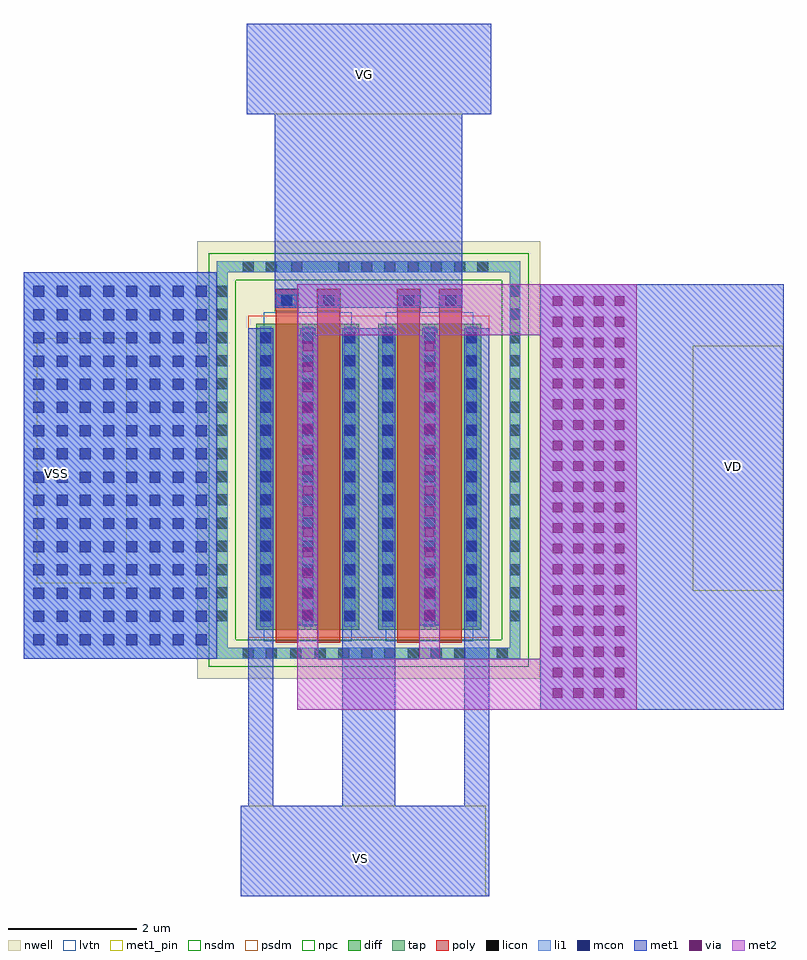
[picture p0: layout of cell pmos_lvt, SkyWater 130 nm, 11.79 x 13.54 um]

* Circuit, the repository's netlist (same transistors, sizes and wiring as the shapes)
** sch_path: /foss/designs/RO_Aging_UNICASS/MOS/pmos_lvt.sch
.subckt pmos_lvt VS VB VG VD
*.PININFO VS:B VB:B VG:B VD:B
M1 VD VG VS VB sky130_fd_pr__pfet_01v8_lvt L=0.35 W=4.75 nf=1 ad='int((nf+1)/2) * W/nf * 0.29' as='int((nf+2)/2) * W/nf * 0.29' pd='2*int((nf+1)/2) * (W/nf + 0.29)'
+ ps='2*int((nf+2)/2) * (W/nf + 0.29)' nrd='0.29 / W' nrs='0.29 / W' sa=0 sb=0 sd=0 mult=4 m=4
.ends
.end

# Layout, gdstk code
import gdstk
lib = gdstk.Library(unit=1e-6, precision=1e-09)
def R(c, l, rs):  # rectangles x0, y0, x1, y1
    for r in rs: c.add(gdstk.rectangle(r[:2], r[2:], *l))
def A(c, l, x, y, w, h, nx, ny, dx, dy):  # array of equal rectangles
    R(c, l, [(x+i*dx, y+j*dy, x+i*dx+w, y+j*dy+h) for i in range(nx) for j in range(ny)])
nwell = (64, 20)
diff = (65, 20)
tap = (65, 44)
poly = (66, 20)
licon = (66, 44)
li1 = (67, 20)
mcon = (67, 44)
met1_pin = (68, 16)
met1 = (68, 20)
via = (68, 44)
met2 = (69, 20)
nsdm = (93, 44)
psdm = (94, 20)
npc = (95, 20)
lvtn = (125, 44)

vias_gen_5 = lib.new_cell('vias_gen$5')
R(vias_gen_5, met1, [(0,0,0.32,4.5)])
A(vias_gen_5, via, 0.085, 0.095, 0.15, 0.15, 1, 14, 0, 0.32)
R(vias_gen_5, met2, [(0,0,0.32,4.5)])

vias_gen_1 = lib.new_cell('vias_gen$1')
R(vias_gen_1, met1, [(0,0,1.5,6.6)])
A(vias_gen_1, via, 0.195, 0.185, 0.15, 0.15, 4, 20, 0.32, 0.32)
R(vias_gen_1, met2, [(0,0,1.5,6.6)])

vias_gen_2 = lib.new_cell('vias_gen$2')
R(vias_gen_2, li1, [(0,0,3,6)])
A(vias_gen_2, mcon, 0.155, 0.215, 0.17, 0.17, 8, 16, 0.36, 0.36)
R(vias_gen_2, met1, [(0,0,3,6)])

pfet = lib.new_cell('pfet')
R(pfet, nwell, [(-0.305,-0.72,1.255,5.13)])
R(pfet, diff, [(0,0,0.95,4.75)])
R(pfet, poly, [(0.3,-0.53,0.65,-0.2), (0.3,-0.2,0.65,4.95)])
A(pfet, licon, 0.065, 0.13, 0.17, 0.17, 1, 13, 0, 0.36)
A(pfet, licon, 0.715, 0.13, 0.17, 0.17, 1, 13, 0, 0.36)
R(pfet, licon, [(0.39,-0.45,0.56,-0.28)])
R(pfet, li1, [(0.31,-0.45,0.64,-0.28), (0.065,0.05,0.235,4.7), (0.715,0.05,0.885,4.7)])
A(pfet, mcon, 0.065, 0.13, 0.17, 0.17, 1, 13, 0, 0.36)
A(pfet, mcon, 0.715, 0.13, 0.17, 0.17, 1, 13, 0, 0.36)
R(pfet, mcon, [(0.39,-0.45,0.56,-0.28)])
R(pfet, met1, [(0.29,-0.48,0.66,-0.25), (0.035,0.07,0.265,4.68), (0.685,0.07,0.915,4.68)])
R(pfet, psdm, [(-0.125,-0.125,1.075,4.875)])
R(pfet, npc, [(0.29,-0.54,0.66,-0.19)])
R(pfet, lvtn, [(0.12,-0.18,0.83,4.93)])

pmos_lvt = lib.new_cell('pmos_lvt')
R(pmos_lvt, nwell, [(9.925,-2.295,15.245,4.485)])
R(pmos_lvt, diff, [(11.645,-1.54,11.8,3.21)])
R(pmos_lvt, tap, [(10.23,-1.99,14.94,-1.82), (10.23,-1.82,10.4,4.18), (14.77,-1.82,14.94,4.18), (10.23,4.01,14.77,4.18), (10.4,4.01,14.29,4.18)])
A(pmos_lvt, licon, 10.99, -1.99, 0.17, 0.17, 3, 1, 0.38, 0)
A(pmos_lvt, licon, 12.11, -1.99, 0.17, 0.17, 6, 1, 0.36, 0)
A(pmos_lvt, licon, 10.23, -1.41, 0.17, 0.17, 1, 15, 0, 0.36)
A(pmos_lvt, licon, 14.77, -1.41, 0.17, 0.17, 1, 15, 0, 0.36)
A(pmos_lvt, licon, 12.11, 4.01, 0.17, 0.17, 7, 1, 0.36, 0)
R(pmos_lvt, licon, [(10.63,-1.99,10.8,-1.82), (14.575,-1.99,14.745,-1.82), (10.63,4.01,10.8,4.18), (10.99,4.01,11.16,4.18), (11.385,4.01,11.555,4.18), (11.385,4.01,11.555,4.18)])
R(pmos_lvt, li1, [(10.23,-1.99,14.94,-1.82), (10.23,-1.82,10.4,4.18), (14.77,-1.82,14.94,4.18), (10.23,4.01,14.77,4.18)])
R(pmos_lvt, met1_pin, [(10.6,-5.675,14.4,-4.27), (17.61,-0.935,19.015,2.865), (7.435,-0.815,8.835,2.985), (10.69,6.46,14.49,7.865)])
R(pmos_lvt, met1, [(10.6,-5.675,14.4,-4.27), (14.37,-5.675,14.455,-5.595), (14.065,-5.595,14.455,-1.805), (12.175,-4.535,12.995,-1.365), (10.715,-4.38,11.105,-1.885), (16.745,-2.78,19.02,-2.545), (16.72,-2.55,19.02,3.82), (12.405,-1.97,12.765,3.14), (10.715,-1.965,11.105,3.14), (14.065,-1.965,14.455,3.14), (17.61,-0.935,19.015,2.865), (11.13,3.46,14.04,6.505), (12,3.46,13.18,6.46), (10.69,6.46,14.49,7.865)])
R(pmos_lvt, met2, [(11.48,-2.78,11.8,-1.455), (11.48,-2.78,15.245,-1.99), (13.37,-2.78,13.69,-1.455), (11.48,3.03,15.245,3.82)])
R(pmos_lvt, nsdm, [(10.105,-2.115,15.07,-1.695), (10.105,-1.695,10.525,3.885), (14.65,-1.695,15.07,3.885), (14.65,-1.695,15.07,3.885), (10.105,3.885,15.07,4.305), (10.505,3.885,15.07,4.305), (10.505,3.885,15.07,4.305), (10.505,3.885,15.07,4.305)])
R(pmos_lvt, psdm, [(12.565,-1.665,12.605,3.335)])
pmos_lvt.add(gdstk.Reference(vias_gen_5, (13.37,-1.47)))
pmos_lvt.add(gdstk.Reference(vias_gen_5, (11.48,-1.47)))
pmos_lvt.add(gdstk.Reference(vias_gen_5, (13.37,-1.47)))
pmos_lvt.add(gdstk.Reference(vias_gen_1, (15.245,-2.78)))
pmos_lvt.add(gdstk.Reference(vias_gen_2, (7.23,-1.99)))
pmos_lvt.add(gdstk.Reference(pfet, (10.84,3.21), x_reflection=True))
pmos_lvt.add(gdstk.Reference(pfet, (13.38,3.21), x_reflection=True))
pmos_lvt.add(gdstk.Reference(pfet, (11.49,3.21), x_reflection=True))
pmos_lvt.add(gdstk.Reference(pfet, (12.73,3.21), x_reflection=True))
pmos_lvt.add(gdstk.Label('VG', (12.515,7.08), layer=68, texttype=5))
pmos_lvt.add(gdstk.Label('VS', (12.455,-5.08), layer=68, texttype=5))
pmos_lvt.add(gdstk.Label('VD', (18.24,0.995), layer=68, texttype=5))
pmos_lvt.add(gdstk.Label('VSS', (7.74,0.885), layer=68, texttype=5))

lib.write_gds('pmos_lvt.gds')
